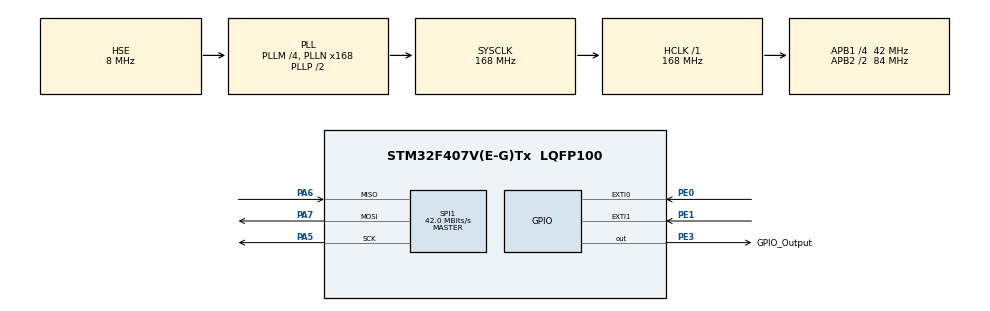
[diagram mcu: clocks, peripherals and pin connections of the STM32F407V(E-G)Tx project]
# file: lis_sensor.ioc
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Mcu.Family=STM32F4
Mcu.Name=STM32F407V(E-G)Tx
Mcu.Package=LQFP100
NVIC.EXTI0_IRQn=true\:0\:0\:false\:false\:true\:true\:true\:true
NVIC.EXTI1_IRQn=true\:0\:0\:false\:false\:true\:true\:true\:true
NVIC.PriorityGroup=NVIC_PRIORITYGROUP_4
NVIC.TIM2_IRQn=true\:1\:0\:true\:false\:true\:true\:true\:true
PA5.Mode=Full_Duplex_Master
PA5.Signal=SPI1_SCK
PA6.Mode=Full_Duplex_Master
PA6.Signal=SPI1_MISO
PA7.Mode=Full_Duplex_Master
PA7.Signal=SPI1_MOSI
PE0.Signal=GPXTI0
PE1.Signal=GPXTI1
PE3.GPIO_Label=GPIO_Output
PE3.Signal=GPIO_Output
PH0-OSC_IN.Mode=HSE-External-Oscillator
PH0-OSC_IN.Signal=RCC_OSC_IN
PH1-OSC_OUT.Mode=HSE-External-Oscillator
PH1-OSC_OUT.Signal=RCC_OSC_OUT
ProjectManager.HeapSize=0x200
ProjectManager.StackSize=0x400
ProjectManager.TargetToolchain=STM32CubeIDE
RCC.48MHZClocksFreq_Value=84000000
RCC.AHBFreq_Value=168000000
RCC.APB1CLKDivider=RCC_HCLK_DIV4
RCC.APB1Freq_Value=42000000
RCC.APB1TimFreq_Value=84000000
RCC.APB2CLKDivider=RCC_HCLK_DIV2
RCC.APB2Freq_Value=84000000
RCC.APB2TimFreq_Value=168000000
RCC.CortexFreq_Value=168000000
RCC.HCLKFreq_Value=168000000
RCC.HSE_VALUE=8000000
RCC.HSI_VALUE=16000000
RCC.LSE_VALUE=32768
RCC.PLLM=4
RCC.PLLN=168
RCC.PLLSourceVirtual=RCC_PLLSOURCE_HSE
RCC.SYSCLKFreq_VALUE=168000000
RCC.SYSCLKSource=RCC_SYSCLKSOURCE_PLLCLK
RCC.VCOOutputFreq_Value=336000000
SPI1.BaudRatePrescaler=SPI_BAUDRATEPRESCALER_2
SPI1.CLKPhase=SPI_PHASE_2EDGE
SPI1.CLKPolarity=SPI_POLARITY_HIGH
SPI1.CalculateBaudRate=42.0 MBits/s
SPI1.Direction=SPI_DIRECTION_2LINES
SPI1.Mode=SPI_MODE_MASTER
SPI1.VirtualType=VM_MASTER
TIM2.Period=9999
TIM2.Prescaler=41999
VP_TIM2_VS_ClockSourceINT.Mode=Internal
board=custom

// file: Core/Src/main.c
/* USER CODE BEGIN Header */
/**
  ******************************************************************************
  * @file           : main.c
  * @brief          : Main program body
  ******************************************************************************
  * @attention
  *
  * Copyright (c) 2023 STMicroelectronics.
  * All rights reserved.
  *
  * This software is licensed under terms that can be found in the LICENSE file
  * in the root directory of this software component.
  * If no LICENSE file comes with this software, it is provided AS-IS.
  *
  ******************************************************************************
  */
/* USER CODE END Header */
#include "main.h"

 SPI_HandleTypeDef hspi1;

TIM_HandleTypeDef htim2;

/* USER CODE BEGIN PV */

 uint8_t x, y, z, x_address = 0x29, y_address = 0x2B, z_address = 0x2D;
 uint16_t timer_count = 0;
 int flag_control = 0;

/* USER CODE END PV */

void SystemClock_Config(void);
static void MX_GPIO_Init(void);
static void MX_SPI1_Init(void);
static void MX_TIM2_Init(void);
/* USER CODE BEGIN PFP */

void lis_init(void);
void WriteSpi(uint8_t addres, uint8_t data);
uint8_t ReadSpi(uint8_t addres);
void Read_all(void);

/* USER CODE END PFP */

int main(void)
{

  /* MCU Configuration--------------------------------------------------------*/

  /* Reset of all peripherals, Initializes the Flash interface and the Systick. */
  HAL_Init();

  /* Configure the system clock */
  SystemClock_Config();

  /* Initialize all configured peripherals */
  MX_GPIO_Init();
  MX_SPI1_Init();
  MX_TIM2_Init();
  /* USER CODE BEGIN 2 */
  HAL_TIM_Base_Start_IT(&htim2);

  ReadSpi(0x0F);
  lis_init();

  /* USER CODE END 2 */

  /* Infinite loop */
  while (1)
  {

    /* USER CODE BEGIN 3 */

	  timer_count = TIM2->CNT;
	  if(flag_control == 1)
	  {
		  flag_control = 0;
		  //ReadSpi(0x31);  // (read only) bu, interrupt istegini sıfırlayarak bidaha interrupta girmemizi sagliyo (kullanmıcaz)
	  }

  }
  /* USER CODE END 3 */
}

void SystemClock_Config(void)
{
  RCC_OscInitTypeDef RCC_OscInitStruct = {0};
  RCC_ClkInitTypeDef RCC_ClkInitStruct = {0};

  /** Configure the main internal regulator output voltage
  */
  __HAL_RCC_PWR_CLK_ENABLE();
  __HAL_PWR_VOLTAGESCALING_CONFIG(PWR_REGULATOR_VOLTAGE_SCALE1);

  /** Initializes the RCC Oscillators according to the specified parameters
  * in the RCC_OscInitTypeDef structure.
  */
  RCC_OscInitStruct.OscillatorType = RCC_OSCILLATORTYPE_HSE;
  RCC_OscInitStruct.HSEState = RCC_HSE_ON;
  RCC_OscInitStruct.PLL.PLLState = RCC_PLL_ON;
  RCC_OscInitStruct.PLL.PLLSource = RCC_PLLSOURCE_HSE;
  RCC_OscInitStruct.PLL.PLLM = 4;
  RCC_OscInitStruct.PLL.PLLN = 168;
  RCC_OscInitStruct.PLL.PLLP = RCC_PLLP_DIV2;
  RCC_OscInitStruct.PLL.PLLQ = 4;
  if (HAL_RCC_OscConfig(&RCC_OscInitStruct) != HAL_OK)
  {
    Error_Handler();
  }

  /** Initializes the CPU, AHB and APB buses clocks
  */
  RCC_ClkInitStruct.ClockType = RCC_CLOCKTYPE_HCLK|RCC_CLOCKTYPE_SYSCLK
                              |RCC_CLOCKTYPE_PCLK1|RCC_CLOCKTYPE_PCLK2;
  RCC_ClkInitStruct.SYSCLKSource = RCC_SYSCLKSOURCE_PLLCLK;
  RCC_ClkInitStruct.AHBCLKDivider = RCC_SYSCLK_DIV1;
  RCC_ClkInitStruct.APB1CLKDivider = RCC_HCLK_DIV4;
  RCC_ClkInitStruct.APB2CLKDivider = RCC_HCLK_DIV2;

  if (HAL_RCC_ClockConfig(&RCC_ClkInitStruct, FLASH_LATENCY_5) != HAL_OK)
  {
    Error_Handler();
  }
}

static void MX_SPI1_Init(void)
{

  /* SPI1 parameter configuration*/
  hspi1.Instance = SPI1;
  hspi1.Init.Mode = SPI_MODE_MASTER;
  hspi1.Init.Direction = SPI_DIRECTION_2LINES;
  hspi1.Init.DataSize = SPI_DATASIZE_8BIT;
  hspi1.Init.CLKPolarity = SPI_POLARITY_HIGH;
  hspi1.Init.CLKPhase = SPI_PHASE_2EDGE;
  hspi1.Init.NSS = SPI_NSS_SOFT;
  hspi1.Init.BaudRatePrescaler = SPI_BAUDRATEPRESCALER_2;
  hspi1.Init.FirstBit = SPI_FIRSTBIT_MSB;
  hspi1.Init.TIMode = SPI_TIMODE_DISABLE;
  hspi1.Init.CRCCalculation = SPI_CRCCALCULATION_DISABLE;
  hspi1.Init.CRCPolynomial = 10;
  if (HAL_SPI_Init(&hspi1) != HAL_OK)
  {
    Error_Handler();
  }

}

static void MX_TIM2_Init(void)
{

  TIM_ClockConfigTypeDef sClockSourceConfig = {0};
  TIM_MasterConfigTypeDef sMasterConfig = {0};

  htim2.Instance = TIM2;
  htim2.Init.Prescaler = 41999;
  htim2.Init.CounterMode = TIM_COUNTERMODE_UP;
  htim2.Init.Period = 9999;   //9999 -> 5sn
  htim2.Init.ClockDivision = TIM_CLOCKDIVISION_DIV1;
  htim2.Init.AutoReloadPreload = TIM_AUTORELOAD_PRELOAD_DISABLE;
  if (HAL_TIM_Base_Init(&htim2) != HAL_OK)
  {
    Error_Handler();
  }
  sClockSourceConfig.ClockSource = TIM_CLOCKSOURCE_INTERNAL;
  if (HAL_TIM_ConfigClockSource(&htim2, &sClockSourceConfig) != HAL_OK)
  {
    Error_Handler();
  }
  sMasterConfig.MasterOutputTrigger = TIM_TRGO_RESET;
  sMasterConfig.MasterSlaveMode = TIM_MASTERSLAVEMODE_DISABLE;
  if (HAL_TIMEx_MasterConfigSynchronization(&htim2, &sMasterConfig) != HAL_OK)
  {
    Error_Handler();
  }

}

static void MX_GPIO_Init(void)
{
  GPIO_InitTypeDef GPIO_InitStruct = {0};

  /* GPIO Ports Clock Enable */
  __HAL_RCC_GPIOE_CLK_ENABLE();
  __HAL_RCC_GPIOH_CLK_ENABLE();
  __HAL_RCC_GPIOA_CLK_ENABLE();

  /*Configure GPIO pin Output Level */
  HAL_GPIO_WritePin(GPIO_Output_GPIO_Port, GPIO_Output_Pin, GPIO_PIN_RESET);

  /*Configure GPIO pin : GPIO_Output_Pin */
  GPIO_InitStruct.Pin = GPIO_Output_Pin;
  GPIO_InitStruct.Mode = GPIO_MODE_OUTPUT_PP;
  GPIO_InitStruct.Pull = GPIO_NOPULL;
  GPIO_InitStruct.Speed = GPIO_SPEED_FREQ_LOW;
  HAL_GPIO_Init(GPIO_Output_GPIO_Port, &GPIO_InitStruct);

  /*Configure GPIO pins : PE0 PE1 */
  GPIO_InitStruct.Pin = GPIO_PIN_0|GPIO_PIN_1;
  GPIO_InitStruct.Mode = GPIO_MODE_IT_RISING;
  GPIO_InitStruct.Pull = GPIO_NOPULL;
  HAL_GPIO_Init(GPIOE, &GPIO_InitStruct);

  /* EXTI interrupt init*/
  HAL_NVIC_SetPriority(EXTI0_IRQn, 0, 0);
  HAL_NVIC_EnableIRQ(EXTI0_IRQn);

  HAL_NVIC_SetPriority(EXTI1_IRQn, 0, 1);
  HAL_NVIC_EnableIRQ(EXTI1_IRQn);

}

/* USER CODE BEGIN 4 */

void TIM2_IRQHandler(void)
{
  /* USER CODE BEGIN TIM2_IRQn 0 */
	Read_all();
  /* USER CODE END TIM2_IRQn 0 */
  HAL_TIM_IRQHandler(&htim2);
  /* USER CODE BEGIN TIM2_IRQn 1 */

  /* USER CODE END TIM2_IRQn 1 */
}

void Read_all(void)
{
	  x = ReadSpi(x_address);

	  y = ReadSpi(y_address);

	  z = ReadSpi(z_address);
}

void EXTI1_IRQHandler(void)
{
  /* USER CODE BEGIN EXTI1_IRQn 0 */

	flag_control = 1;
	//ReadSpi(0x31);  // (read only) bu, interrupt istegini sıfırlayarak bidaha interrupta girmemizi sagliyo

  /* USER CODE END EXTI1_IRQn 0 */
  HAL_GPIO_EXTI_IRQHandler(GPIO_PIN_1);
  /* USER CODE BEGIN EXTI1_IRQn 1 */

  /* USER CODE END EXTI1_IRQn 1 */
}

void lis_init(void)
{

	// Free Fall
	WriteSpi(0x20, 0x47);	//47  CTRL_REG1     /**/
	HAL_Delay(20);
	WriteSpi(0x21, 0x00);	//	  CTRL_REG2
	HAL_Delay(20);
	WriteSpi(0x22, 0x09);	//09  CTRL_REG3
	HAL_Delay(20);
	WriteSpi(0x30, 0x2A);	//2A  FF_WU_CFG_1   /**/
	HAL_Delay(20);
	WriteSpi(0x32, 0x01);	//	  FF_WU_THS_1
	HAL_Delay(20);
	WriteSpi(0x33, 0x09);	//	  FF_WU_DURATION_1
	HAL_Delay(20);

	// Wake Up
	/*WriteSpi(0x20, 0xC7);	//47  CTRL_REG1
	HAL_Delay(20);
	WriteSpi(0x21, 0x00);	//	  CTRL_REG2
	HAL_Delay(20);
	WriteSpi(0x22, 0x08);	//09  CTRL_REG3
	HAL_Delay(20);
	WriteSpi(0x32, 0x0A);	//	  FF_WU_THS_1
	HAL_Delay(20);
	WriteSpi(0x33, 0x00);	//	  FF_WU_DURATION_1
	HAL_Delay(20);
	WriteSpi(0x30, 0x4A);	//2A  FF_WU_CFG_1
	HAL_Delay(20);*/

}

void WriteSpi(uint8_t addres, uint8_t data)
{
	uint8_t buff[2];
	buff[0] = addres;
	buff[1] = data;

	HAL_GPIO_WritePin(GPIOE, GPIO_PIN_3, DISABLE);

	HAL_SPI_Transmit(&hspi1, buff, 2, 100);

	//HAL_SPI_Transmit(&hspi1, &data, sizeof(data), 100);

	HAL_GPIO_WritePin(GPIOE, GPIO_PIN_3, ENABLE);

}

uint8_t ReadSpi(uint8_t addres)
{

	volatile uint8_t buffer[1];

	if(flag_control == 1)
	{
		addres = addres;
	}
	else if (flag_control == 0)
	{
		addres = addres | 0x80;
	}

	HAL_GPIO_WritePin(GPIOE, GPIO_PIN_3, GPIO_PIN_RESET);

	HAL_SPI_Transmit(&hspi1, &addres, 1, 100);

	HAL_SPI_Receive(&hspi1, buffer, 1, 100);

	HAL_GPIO_WritePin(GPIOE, GPIO_PIN_3, GPIO_PIN_SET);

	return buffer[0];

}

/* USER CODE END 4 */

void Error_Handler(void)
{
  __disable_irq();
  while (1)
  {
  }
}
